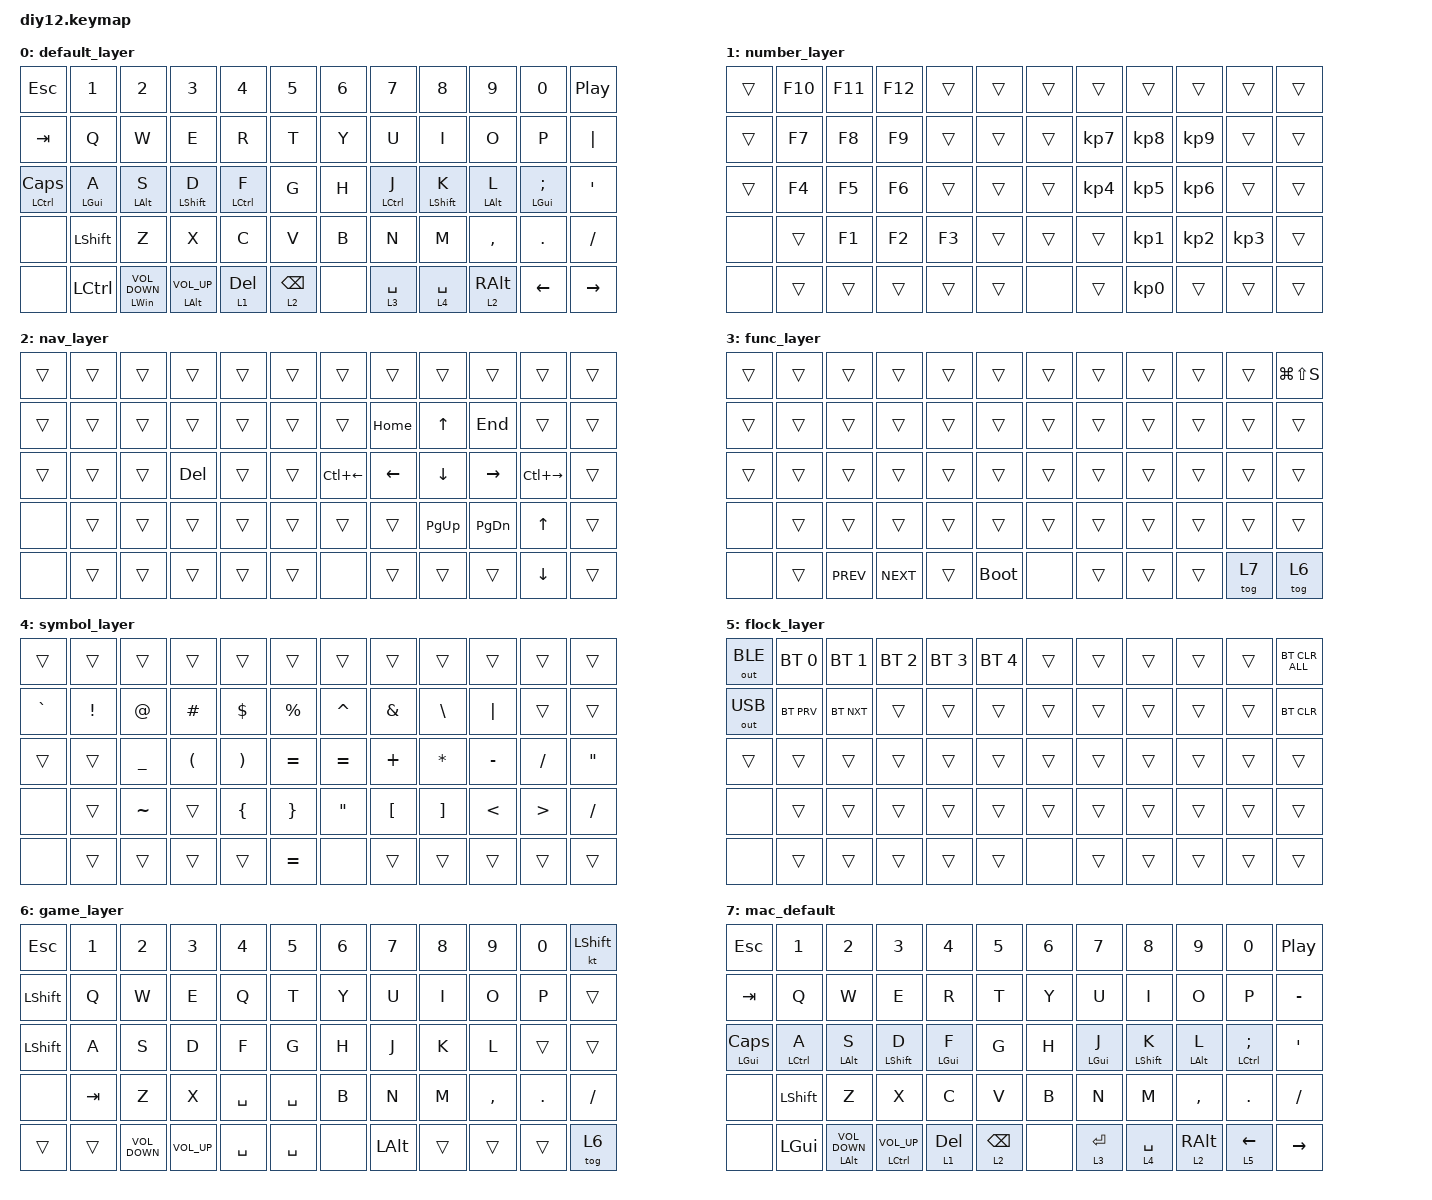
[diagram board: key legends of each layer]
#include <behaviors.dtsi>
#include <dt-bindings/zmk/bt.h>
#include <dt-bindings/zmk/keys.h>
#include <dt-bindings/zmk/outputs.h>

#define QUICK_TAP_MS 175

&lt {
    flavor = "balanced";
    tapping-term-ms = <200>;
    quick-tap-ms = <QUICK_TAP_MS>;
};

/ {
    behaviors {
        hm: home_row {
            compatible = "zmk,behavior-hold-tap";
            label = "HOME_ROW";
            bindings = <&kp>, <&kp>;

            #binding-cells = <2>;
            tapping-term-ms = <200>;
            quick-tap-ms = <QUICK_TAP_MS>;
            require-prior-idle-ms = <150>;
            flavor = "balanced";
            hold-trigger-key-positions = <27 28 31 32 26 25 33 34>;
            hold-trigger-on-release;
        };
    };

    combos {
        compatible = "zmk,combos";

        lang_change {
            bindings = <&kp RIGHT_ALT>;
            key-positions = <55 56>;
        };

        enter {
            bindings = <&kp ENTER>;
            key-positions = <19 20>;
        };
    };

    keymap {
        compatible = "zmk,keymap";

        default_layer {
            bindings = <
&kp ESC         &kp N1          &kp N2                      &kp N3                    &kp N4       &kp N5      &kp N6  &kp N7       &kp N8            &kp N9           &kp N0                  &kp C_PLAY_PAUSE
&kp TAB         &kp Q           &kp W                       &kp E                     &kp R        &kp T       &kp Y   &kp U        &kp I             &kp O            &kp P                   &kp PIPE
&mt LCTRL CAPS  &hm LEFT_GUI A  &hm LEFT_ALT S              &hm LEFT_SHIFT D          &hm LCTRL F  &kp G       &kp H   &hm LCTRL J  &hm LEFT_SHIFT K  &hm LEFT_ALT L   &hm LEFT_GUI SEMICOLON  &kp SQT
&none           &kp LSHFT       &kp Z                       &kp X                     &kp C        &kp V       &kp B   &kp N        &kp M             &kp COMMA        &kp DOT                 &kp FSLH
&none           &kp LCTRL       &mt LEFT_WIN C_VOLUME_DOWN  &mt LEFT_ALT C_VOLUME_UP  &lt 1 DEL    &lt 2 BSPC  &none   &lt 3 SPACE  &lt 4 SPACE       &lt 2 RIGHT_ALT  &kp LEFT_ARROW          &kp RIGHT
            >;
        };

        number_layer {
            bindings = <
&trans  &kp F10  &kp F11  &kp F12  &trans  &trans  &trans  &trans           &trans           &trans           &trans           &trans
&trans  &kp F7   &kp F8   &kp F9   &trans  &trans  &trans  &kp KP_NUMBER_7  &kp KP_NUMBER_8  &kp KP_NUMBER_9  &trans           &trans
&trans  &kp F4   &kp F5   &kp F6   &trans  &trans  &trans  &kp KP_NUMBER_4  &kp KP_NUMBER_5  &kp KP_NUMBER_6  &trans           &trans
&none   &trans   &kp F1   &kp F2   &kp F3  &trans  &trans  &trans           &kp KP_NUMBER_1  &kp KP_NUMBER_2  &kp KP_NUMBER_3  &trans
&none   &trans   &trans   &trans   &trans  &trans  &none   &trans           &kp KP_NUMBER_0  &trans           &trans           &trans
            >;
        };

        nav_layer {
            bindings = <
&trans  &trans  &trans  &trans      &trans  &trans  &trans              &trans    &trans        &trans         &trans               &trans
&trans  &trans  &trans  &trans      &trans  &trans  &trans              &kp HOME  &kp UP_ARROW  &kp END        &trans               &trans
&trans  &trans  &trans  &kp DELETE  &trans  &trans  &kp LC(LEFT_ARROW)  &kp LEFT  &kp DOWN      &kp RIGHT      &kp LC(RIGHT_ARROW)  &trans
&none   &trans  &trans  &trans      &trans  &trans  &trans              &trans    &kp PG_UP     &kp PAGE_DOWN  &kp UP               &trans
&none   &trans  &trans  &trans      &trans  &trans  &none               &trans    &trans        &trans         &kp DOWN             &trans
            >;
        };

        func_layer {
            bindings = <
&trans  &trans  &trans      &trans      &trans  &trans       &trans  &trans  &trans  &trans  &trans  &kp LG(LS(S))
&trans  &trans  &trans      &trans      &trans  &trans       &trans  &trans  &trans  &trans  &trans  &trans
&trans  &trans  &trans      &trans      &trans  &trans       &trans  &trans  &trans  &trans  &trans  &trans
&none   &trans  &trans      &trans      &trans  &trans       &trans  &trans  &trans  &trans  &trans  &trans
&none   &trans  &kp C_PREV  &kp C_NEXT  &trans  &bootloader  &none   &trans  &trans  &trans  &tog 7  &tog 6
            >;
        };

        symbol_layer {
            bindings = <
&trans     &trans           &trans          &trans    &trans      &trans       &trans     &trans            &trans             &trans         &trans            &trans
&kp GRAVE  &kp EXCLAMATION  &kp AT_SIGN     &kp HASH  &kp DOLLAR  &kp PERCENT  &kp CARET  &kp AMPS          &kp BSLH           &kp PIPE       &trans            &trans
&trans     &trans           &kp UNDERSCORE  &kp LPAR  &kp RPAR    &kp EQUAL    &kp EQUAL  &kp PLUS          &kp ASTRK          &kp MINUS      &kp SLASH         &kp DQT
&none      &trans           &kp TILDE       &trans    &kp LBRC    &kp RBRC     &kp DQT    &kp LEFT_BRACKET  &kp RIGHT_BRACKET  &kp LESS_THAN  &kp GREATER_THAN  &kp SLASH
&none      &trans           &trans          &trans    &trans      &kp EQUAL    &none      &trans            &trans             &trans         &trans            &trans
            >;
        };

        flock_layer {
            bindings = <
&out OUT_BLE  &bt BT_SEL 0  &bt BT_SEL 1  &bt BT_SEL 2  &bt BT_SEL 3  &bt BT_SEL 4  &trans  &trans  &trans  &trans  &trans  &bt BT_CLR_ALL
&out OUT_USB  &bt BT_PRV    &bt BT_NXT    &trans        &trans        &trans        &trans  &trans  &trans  &trans  &trans  &bt BT_CLR
&trans        &trans        &trans        &trans        &trans        &trans        &trans  &trans  &trans  &trans  &trans  &trans
&none         &trans        &trans        &trans        &trans        &trans        &trans  &trans  &trans  &trans  &trans  &trans
&none         &trans        &trans        &trans        &trans        &trans        &none   &trans  &trans  &trans  &trans  &trans
            >;
        };

        game_layer {
            bindings = <
&kp ESC         &kp N1   &kp N2             &kp N3           &kp N4     &kp N5     &kp N6  &kp N7        &kp N8  &kp N9     &kp N0   &kt LEFT_SHIFT
&kp LEFT_SHIFT  &kp Q    &kp W              &kp E            &kp Q      &kp T      &kp Y   &kp U         &kp I   &kp O      &kp P    &trans
&kp LEFT_SHIFT  &kp A    &kp S              &kp D            &kp F      &kp G      &kp H   &kp J         &kp K   &kp L      &trans   &trans
&none           &kp TAB  &kp Z              &kp X            &kp SPACE  &kp SPACE  &kp B   &kp N         &kp M   &kp COMMA  &kp DOT  &kp FSLH
&trans          &trans   &kp C_VOLUME_DOWN  &kp C_VOLUME_UP  &kp SPACE  &kp SPACE  &none   &kp LEFT_ALT  &trans  &trans     &trans   &tog 6
            >;
        };

        mac_default {
            bindings = <
&kp ESC        &kp N1        &kp N2                      &kp N3                 &kp N4      &kp N5      &kp N6  &kp N7          &kp N8            &kp N9           &kp N0               &kp C_PLAY_PAUSE
&kp TAB        &kp Q         &kp W                       &kp E                  &kp R       &kp T       &kp Y   &kp U           &kp I             &kp O            &kp P                &kp MINUS
&mt LGUI CAPS  &hm LCTRL A   &hm LEFT_ALT S              &hm LEFT_SHIFT D       &hm LGUI F  &kp G       &kp H   &hm LEFT_GUI J  &hm LEFT_SHIFT K  &hm LEFT_ALT L   &hm LCTRL SEMICOLON  &kp SQT
&none          &kp LSHFT     &kp Z                       &kp X                  &kp C       &kp V       &kp B   &kp N           &kp M             &kp COMMA        &kp DOT              &kp FSLH
&none          &kp LEFT_GUI  &mt LEFT_ALT C_VOLUME_DOWN  &mt LCTRL C_VOLUME_UP  &lt 1 DEL   &lt 2 BSPC  &none   &lt 3 ENTER     &lt 4 SPACE       &lt 2 RIGHT_ALT  &lt 5 LEFT           &kp RIGHT
            >;
        };
    };
};
